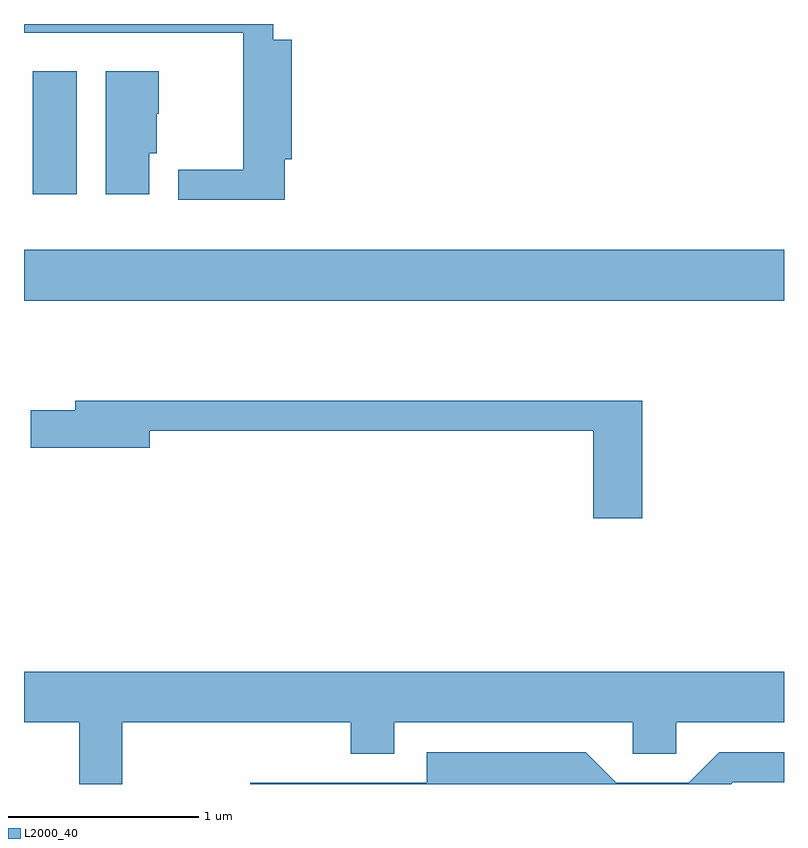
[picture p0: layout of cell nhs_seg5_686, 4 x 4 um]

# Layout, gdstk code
import gdstk
lib = gdstk.Library(unit=1e-6, precision=1e-09)
def R(c, l, rs):  # rectangles x0, y0, x1, y1
    for r in rs: c.add(gdstk.rectangle(r[:2], r[2:], *l))
def P(c, l, *ps):  # polygons
    for p in ps: c.add(gdstk.Polygon(p, *l))
L2000_40 = (2000, 40)

nhs_seg5_686 = lib.new_cell('nhs_seg5_686')
R(nhs_seg5_686, L2000_40, [(205.611,1414.616,209.611,1414.884), (205.656,1415.176,205.889,1415.824)])
P(nhs_seg5_686, L2000_40, [(206.984,1415.361),(207.019,1415.361),(207.019,1415.989),(206.924,1415.989),(206.924,1416.072),(205.611,1416.072),(205.611,1416.026),(206.766,1416.026),(206.766,1415.304),(206.423,1415.304),(206.423,1415.146),(206.984,1415.146)],
  [(206.269,1415.391),(206.309,1415.391),(206.309,1415.6),(206.319,1415.6),(206.319,1415.824),(206.041,1415.824),(206.041,1415.176),(206.269,1415.176)],
  [(208.864,1414.089),(205.881,1414.089),(205.881,1414.039),(205.646,1414.039),(205.646,1413.841),(206.274,1413.841),(206.274,1413.931),(208.606,1413.931),(208.606,1413.471),(208.864,1413.471)],
  [(206.129,1412.396),(207.331,1412.396),(207.331,1412.231),(207.559,1412.231),(207.559,1412.396),(208.816,1412.396),(208.816,1412.231),(209.044,1412.231),(209.044,1412.396),(209.611,1412.396),(209.611,1412.664),(205.611,1412.664),(205.611,1412.396),(205.901,1412.396),(205.901,1412.072),(206.129,1412.072)],
  [(209.342,1412.081),(209.611,1412.081),(209.611,1412.239),(209.269,1412.239),(209.109,1412.079),(208.727,1412.079),(208.567,1412.239),(207.731,1412.239),(207.731,1412.079),(206.803,1412.079),(206.803,1412.072),(209.333,1412.072)])

lib.write_gds('nhs_seg5_686.gds')
